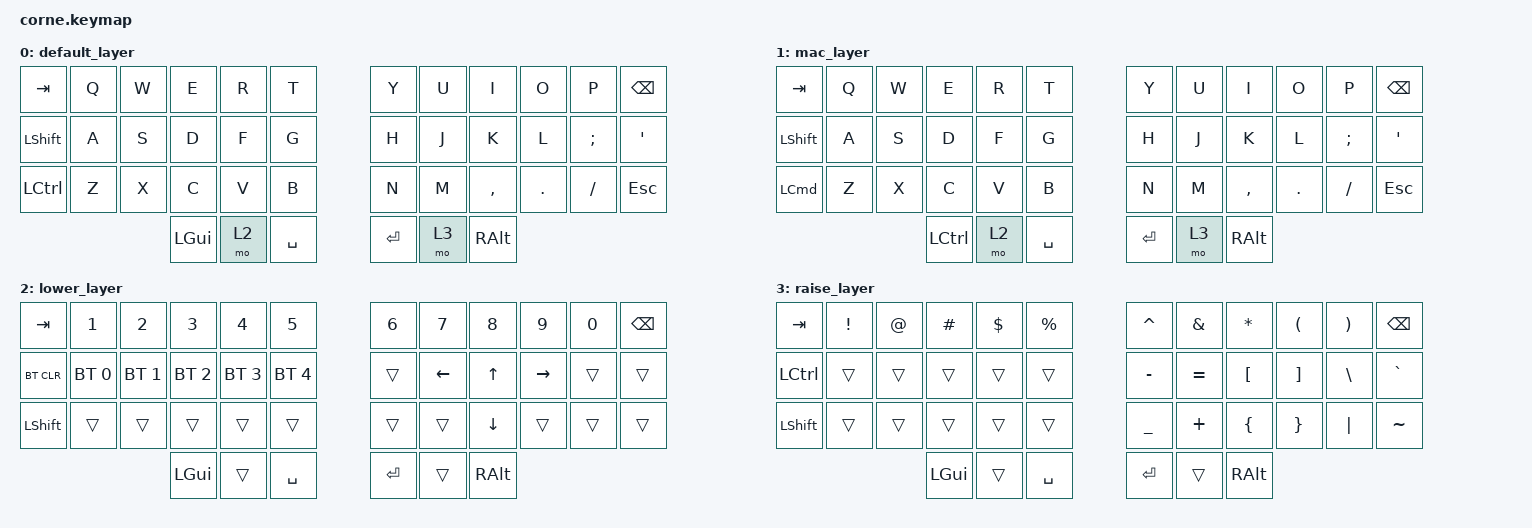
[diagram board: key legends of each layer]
/*
 * Copyright (c) 2020 The ZMK Contributors
 *
 * SPDX-License-Identifier: MIT
 */

#include <behaviors.dtsi>
#include <dt-bindings/zmk/keys.h>
#include <dt-bindings/zmk/bt.h>


/ {
    combos {
        compatible = "zmk,combos";
        combo_toggle_layer_2 {
            timeout-ms = <50>;
            key-positions = <37 40>; // Positions of the two keys to press
            bindings = <&tog 1>;
        };
    };
};



/ {
        keymap {
                compatible = "zmk,keymap";

                default_layer {
// -----------------------------------------------------------------------------------------
// |  TAB |  Q  |  W  |  E  |  R  |  T  |   |  Y  |  U   |  I  |  O  |  P  | BSPC |
// | SHFT |  A  |  S  |  D  |  F  |  G  |   |  H  |  J   |  K  |  L  |  ;  |  '   |
// | CTRL  |  Z  |  X  |  C  |  V  |  B  |   |  N  |  M   |  ,  |  .  |  /  | ESC  |
//                    | GUI | LWR | SPC |   | ENT | RSE  | ALT |
                        bindings = <
   &kp TAB   &kp Q &kp W &kp E &kp R &kp T   &kp Y &kp U  &kp I     &kp O   &kp P    &kp BSPC
   &kp LSHFT  &kp A &kp S &kp D &kp F &kp G   &kp H &kp J  &kp K     &kp L   &kp SEMI &kp SQT
   &kp LCTRL &kp Z &kp X &kp C &kp V &kp B   &kp N &kp M  &kp COMMA &kp DOT &kp FSLH &kp ESC
                  &kp LGUI &mo 2 &kp SPACE   &kp RET &mo 3 &kp RALT
                        >;
                };
                                mac_layer {
// -----------------------------------------------------------------------------------------
// |  TAB |  Q  |  W  |  E  |  R  |  T  |   |  Y  |  U   |  I  |  O  |  P  | BSPC |
// | SHFT |  A  |  S  |  D  |  F  |  G  |   |  H  |  J   |  K  |  L  |  ;  |  '   |
// | CMD  |  Z  |  X  |  C  |  V  |  B  |   |  N  |  M   |  ,  |  .  |  /  | ESC  |
//                    | CTRL| LWR | SPC |   | ENT | RSE  | ALT |
                        bindings = <
   &kp TAB   &kp Q &kp W &kp E &kp R &kp T   &kp Y &kp U  &kp I     &kp O   &kp P    &kp BSPC
   &kp LSHFT  &kp A &kp S &kp D &kp F &kp G   &kp H &kp J  &kp K     &kp L   &kp SEMI &kp SQT
   &kp LCMD &kp Z &kp X &kp C &kp V &kp B   &kp N &kp M  &kp COMMA &kp DOT &kp FSLH &kp ESC
                  &kp LCTRL &mo 2 &kp SPACE   &kp RET &mo 3 &kp RALT
                        >;
                };
                lower_layer {
// -----------------------------------------------------------------------------------------
// |  TAB |  1  |  2  |  3  |  4  |  5  |   |  6  |  7  |  8  |  9  |  0  | BSPC |
// | BTCLR| BT1 | BT2 | BT3 | BT4 | BT5 |   |     | LFT |  UP | RGT |     |      |
// | SHFT |     |     |     |     |     |   |     |     | DWN |     |     |      |
//                    | GUI |     | SPC |   | ENT |     | ALT |
                        bindings = <
   &kp TAB    &kp N1       &kp N2       &kp N3       &kp N4       &kp N5         &kp N6   &kp N7   &kp N8 &kp N9    &kp N0 &kp BSPC
   &bt BT_CLR &bt BT_SEL 0 &bt BT_SEL 1 &bt BT_SEL 2 &bt BT_SEL 3 &bt BT_SEL 4   &trans &kp LEFT &kp UP &kp RIGHT &trans &trans
   &kp LSHFT  &trans       &trans       &trans       &trans       &trans         &trans   &trans   &kp DOWN &trans    &trans &trans
                                    &kp LGUI     &trans       &kp SPACE      &kp RET  &trans   &kp RALT
                        >;
                };

                raise_layer {
// -----------------------------------------------------------------------------------------
// |  TAB |  !  |  @  |  #  |  $  |  %  |   |  ^  |  &  |  *  |  (  |  )  | BSPC |
// | CTRL |     |     |     |     |     |   |  -  |  =  |  [  |  ]  |  \  |  `   |
// | SHFT |     |     |     |     |     |   |  _  |  +  |  {  |  }  | "|" |  ~   |
//                    | GUI |     | SPC |   | ENT |     | ALT |
                        bindings = <
   &kp  TAB  &kp EXCL &kp AT &kp HASH &kp DLLR &kp PRCNT   &kp CARET &kp AMPS  &kp ASTRK &kp LPAR &kp RPAR &kp BSPC
   &kp LCTRL &trans   &trans &trans   &trans   &trans      &kp MINUS &kp EQUAL &kp LBKT  &kp RBKT &kp BSLH &kp GRAVE
   &kp LSHFT &trans   &trans &trans   &trans   &trans      &kp UNDER &kp PLUS  &kp LBRC  &kp RBRC &kp PIPE &kp TILDE
                             &kp LGUI &trans   &kp SPACE   &kp RET   &trans    &kp RALT
                        >;
                };
        };
};
